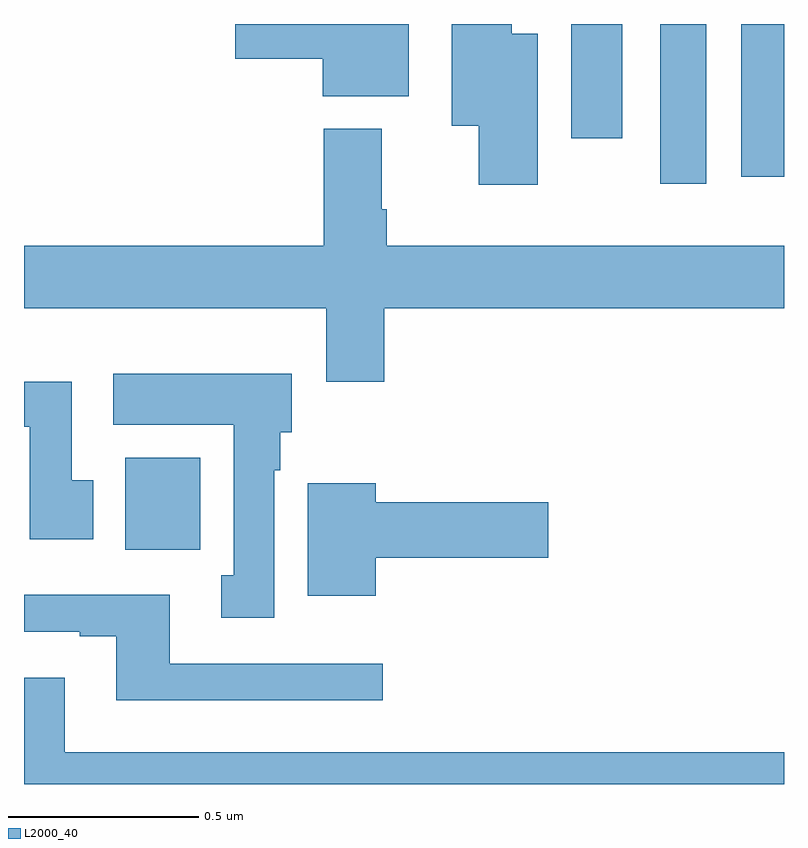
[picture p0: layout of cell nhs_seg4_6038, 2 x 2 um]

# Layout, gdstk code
import gdstk
lib = gdstk.Library(unit=1e-6, precision=1e-09)
def R(c, l, rs):  # rectangles x0, y0, x1, y1
    for r in rs: c.add(gdstk.rectangle(r[:2], r[2:], *l))
def P(c, l, *ps):  # polygons
    for p in ps: c.add(gdstk.Polygon(p, *l))
L2000_40 = (2000, 40)

nhs_seg4_6038 = lib.new_cell('nhs_seg4_6038')
R(nhs_seg4_6038, L2000_40, [(185.267,797.516,185.464,797.758), (186.674,798.48,186.796,798.9), (186.888,798.498,187,798.9), (186.44,798.6,186.574,798.9)])
P(nhs_seg4_6038, L2000_40, [(186.352,798.874),(186.283,798.874),(186.283,798.9),(186.125,798.9),(186.125,798.632),(186.197,798.632),(186.197,798.477),(186.352,798.477)],
  [(186.013,798.9),(185.556,798.9),(185.556,798.809),(185.786,798.809),(185.786,798.71),(186.013,798.71)],
  [(185.948,798.152),(187,798.152),(187,798.316),(185.954,798.316),(185.954,798.412),(185.941,798.412),(185.941,798.625),(185.789,798.625),(185.789,798.316),(185,798.316),(185,798.152),(185.795,798.152),(185.795,797.958),(185.948,797.958)],
  [(185.659,797.726),(185.674,797.726),(185.674,797.826),(185.704,797.826),(185.704,797.98),(185.235,797.98),(185.235,797.846),(185.552,797.846),(185.552,797.45),(185.519,797.45),(185.519,797.337),(185.659,797.337)],
  [(185.182,797.7),(185.125,797.7),(185.125,797.958),(185,797.958),(185,797.84),(185.015,797.84),(185.015,797.544),(185.182,797.544)],
  [(185.926,797.495),(186.379,797.495),(186.379,797.642),(185.926,797.642),(185.926,797.692),(185.747,797.692),(185.747,797.396),(185.926,797.396)],
  [(185.944,797.217),(185.383,797.217),(185.383,797.398),(185,797.398),(185,797.301),(185.147,797.301),(185.147,797.289),(185.243,797.289),(185.243,797.12),(185.944,797.12)],
  [(187,796.984),(185.107,796.984),(185.107,797.179),(185,797.179),(185,796.9),(187,796.9)])

lib.write_gds('nhs_seg4_6038.gds')
